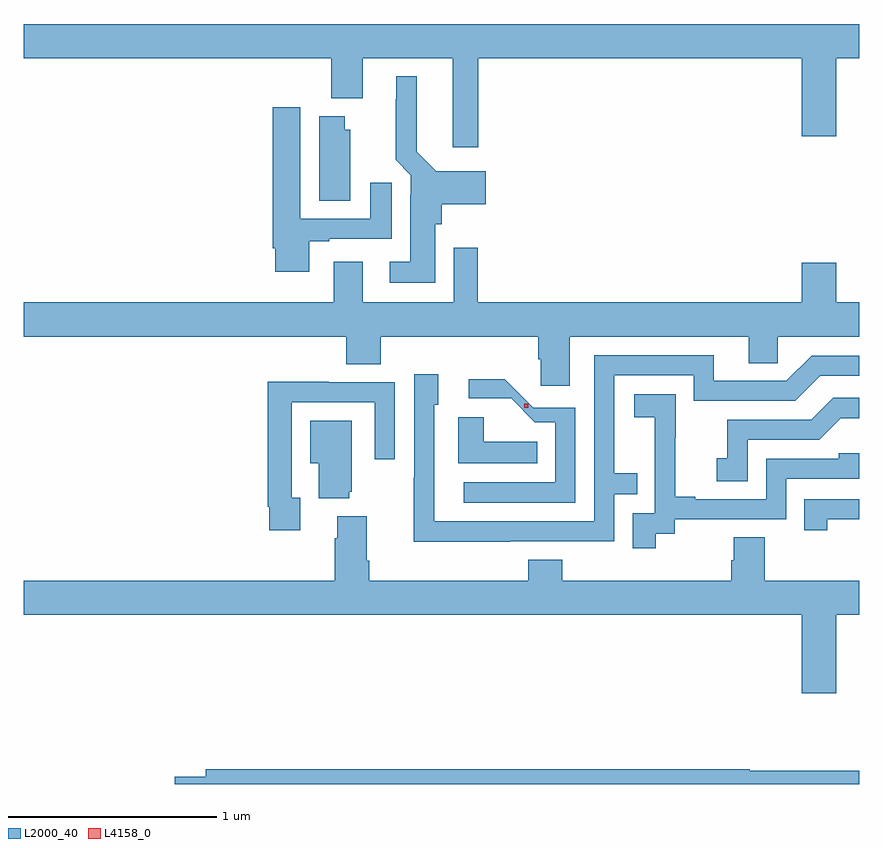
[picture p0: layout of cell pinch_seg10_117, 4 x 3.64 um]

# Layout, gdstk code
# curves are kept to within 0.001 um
import gdstk
lib = gdstk.Library(unit=1e-6, precision=1e-09)
def R(c, l, rs):  # rectangles x0, y0, x1, y1
    for r in rs: c.add(gdstk.rectangle(r[:2], r[2:], *l))
def P(c, l, *ps):  # polygons
    for p in ps: c.add(gdstk.Polygon(p, *l))
L2000_40 = (2000, 40)
L4158_0 = (4158, 0)

pinch_seg10_117 = lib.new_cell('pinch_seg10_117')
P(pinch_seg10_117, L2000_40, [(654.968,1324.292),(656.516,1324.292),(656.516,1323.918),(656.68,1323.918),(656.68,1324.292),(656.791,1324.292),(656.791,1324.456),(652.791,1324.456),(652.791,1324.292),(654.263,1324.292),(654.263,1324.1),(654.415,1324.1),(654.415,1324.292),(654.845,1324.292),(654.845,1323.867),(654.968,1323.867)],
  [(654.76,1323.498),(654.791,1323.498),(654.791,1323.593),(655.003,1323.593),(655.003,1323.751),(654.765,1323.751),(654.673,1323.844),(654.673,1324.207),(654.575,1324.207),(654.575,1324.097),(654.571,1324.097),(654.571,1323.806),(654.645,1323.732),(654.645,1323.638),(654.641,1323.638),(654.641,1323.319),(654.543,1323.319),(654.543,1323.218),(654.76,1323.218)],
  [(654.157,1323.417),(654.253,1323.417),(654.253,1323.429),(654.553,1323.429),(654.553,1323.697),(654.449,1323.697),(654.449,1323.525),(654.115,1323.525),(654.115,1324.057),(653.984,1324.057),(653.984,1323.382),(653.996,1323.382),(653.996,1323.27),(654.157,1323.27)],
  [(654.355,1323.951),(654.328,1323.951),(654.328,1324.015),(654.206,1324.015),(654.206,1323.61),(654.355,1323.61)],
  [(655.405,1322.96),(656.261,1322.96),(656.261,1322.833),(656.4,1322.833),(656.4,1322.96),(656.791,1322.96),(656.791,1323.124),(656.68,1323.124),(656.68,1323.313),(656.516,1323.313),(656.516,1323.124),(654.965,1323.124),(654.965,1323.385),(654.849,1323.385),(654.849,1323.124),(654.415,1323.124),(654.415,1323.319),(654.275,1323.319),(654.275,1323.124),(652.791,1323.124),(652.791,1322.96),(654.335,1322.96),(654.335,1322.827),(654.5,1322.827),(654.5,1322.96),(655.253,1322.96),(655.253,1322.851),(655.266,1322.851),(655.266,1322.724),(655.405,1322.724)],
  [(655.121,1321.98),(655.617,1321.98),(655.617,1322.205),(655.727,1322.205),(655.727,1322.306),(655.617,1322.306),(655.617,1322.775),(655.998,1322.775),(655.998,1322.652),(656.484,1322.652),(656.604,1322.772),(656.791,1322.772),(656.791,1322.868),(656.562,1322.868),(656.442,1322.748),(656.095,1322.748),(656.095,1322.871),(655.521,1322.871),(655.521,1322.076),(654.756,1322.076),(654.756,1322.634),(654.775,1322.634),(654.775,1322.779),(654.66,1322.779),(654.66,1322.285),(654.658,1322.285),(654.658,1321.979)],
  [(655.431,1322.62),(655.229,1322.62),(655.094,1322.756),(654.921,1322.756),(654.921,1322.664),(655.124,1322.664),(655.238,1322.55),(655.335,1322.55),(655.335,1322.262),(654.897,1322.262),(654.897,1322.166),(655.431,1322.166)],
  [(654.115,1322.19),(654.075,1322.19),(654.075,1322.646),(654.471,1322.646),(654.471,1322.373),(654.567,1322.373),(654.567,1322.742),(654.251,1322.742),(654.251,1322.744),(653.959,1322.744),(653.959,1322.146),(653.967,1322.146),(653.967,1322.034),(654.115,1322.034)],
  [(655.816,1322.017),(655.908,1322.017),(655.908,1322.085),(656.442,1322.085),(656.442,1322.28),(656.791,1322.28),(656.791,1322.403),(656.691,1322.403),(656.691,1322.376),(656.346,1322.376),(656.346,1322.181),(656.005,1322.181),(656.005,1322.194),(655.91,1322.194),(655.91,1322.477),(655.911,1322.477),(655.911,1322.683),(655.713,1322.683),(655.713,1322.573),(655.811,1322.573),(655.811,1322.345),(655.812,1322.345),(655.812,1322.115),(655.707,1322.115),(655.707,1321.947),(655.816,1321.947)],
  [(656.256,1322.466),(656.598,1322.466),(656.702,1322.57),(656.791,1322.57),(656.791,1322.667),(656.666,1322.667),(656.561,1322.562),(656.158,1322.562),(656.158,1322.377),(656.109,1322.377),(656.109,1322.268),(656.256,1322.268)],
  [(655.25,1322.458),(654.994,1322.458),(654.994,1322.573),(654.872,1322.573),(654.872,1322.354),(655.25,1322.354)],
  [(654.35,1322.217),(654.361,1322.217),(654.361,1322.557),(654.164,1322.557),(654.164,1322.354),(654.203,1322.354),(654.203,1322.186),(654.35,1322.186)],
  [(656.638,1322.085),(656.791,1322.085),(656.791,1322.181),(656.527,1322.181),(656.527,1322.034),(656.638,1322.034)],
  [(656.68,1321.628),(656.791,1321.628),(656.791,1321.792),(656.337,1321.792),(656.337,1322),(656.189,1322),(656.189,1321.89),(656.177,1321.89),(656.177,1321.792),(655.37,1321.792),(655.37,1321.891),(655.205,1321.891),(655.205,1321.792),(654.446,1321.792),(654.446,1321.888),(654.433,1321.888),(654.433,1322.101),(654.293,1322.101),(654.293,1321.994),(654.281,1321.994),(654.281,1321.792),(652.791,1321.792),(652.791,1321.628),(656.516,1321.628),(656.516,1321.254),(656.68,1321.254)],
  [(656.791,1320.883),(656.267,1320.883),(656.267,1320.89),(653.663,1320.89),(653.663,1320.854),(653.514,1320.854),(653.514,1320.819),(656.791,1320.819)])
R(pinch_seg10_117, L4158_0, [(655.187,1322.619,655.207,1322.639)])

lib.write_gds('pinch_seg10_117.gds')
